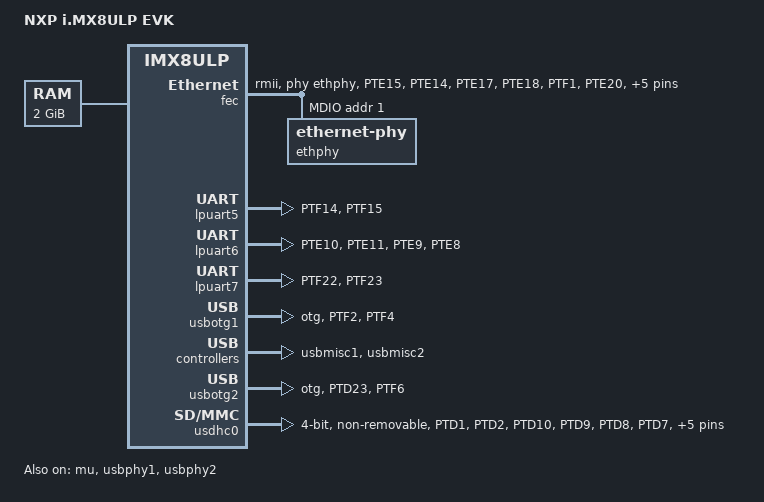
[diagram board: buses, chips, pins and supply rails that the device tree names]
// SPDX-License-Identifier: (GPL-2.0+ OR MIT)
/*
 * Copyright 2021 NXP
 */

/dts-v1/;

#include "imx8ulp.dtsi"

/ {
	model = "NXP i.MX8ULP EVK";
	compatible = "fsl,imx8ulp-evk", "fsl,imx8ulp";

	chosen {
		stdout-path = &lpuart5;
	};

	memory@40000000 {
		device_type = "memory";
		reg = <0x0 0x80000000 0 0x80000000>;
	};

	reserved-memory {
		#address-cells = <2>;
		#size-cells = <2>;
		ranges;

		rsc_table: rsc_table@1fff8000{
			reg = <0 0x1fff8000 0 0x1000>;
			no-map;
		};

		vdev0vring0: vdev0vring0@aff00000 {
			reg = <0 0xaff00000 0 0x8000>;
			no-map;
		};

		vdev0vring1: vdev0vring1@aff08000 {
			reg = <0 0xaff08000 0 0x8000>;
			no-map;
		};

		vdev1vring0: vdev1vring0@aff10000 {
			reg = <0 0xaff10000 0 0x8000>;
			no-map;
		};

		vdev1vring1: vdev1vring1@aff18000 {
			reg = <0 0xaff18000 0 0x8000>;
			no-map;
		};

		vdevbuffer: vdevbuffer@a8400000 {
			compatible = "shared-dma-pool";
			reg = <0 0xa8400000 0 0x100000>;
			no-map;
		};
	};

	imx8ulp-cm33 {
		compatible = "fsl,imx7ulp-cm4";
		ipc-only;
		rsc-da=<0x1fff8000>;
		mbox-names = "tx", "rx", "rxdb";
		mboxes = <&mu 0 1
			  &mu 1 1
			  &mu 3 1>;
		memory-region = <&vdevbuffer>, <&vdev0vring0>, <&vdev0vring1>,
				<&vdev1vring0>, <&vdev1vring1>, <&rsc_table>;
	};
};

&clock_ext_ts {
	/* External ts clock is 50MHZ from PHY on EVK board. */
	clock-frequency = <50000000>;
};

&fec {
	pinctrl-names = "default";
	pinctrl-0 = <&pinctrl_enet>;
	assigned-clocks = <&cgc1 IMX8ULP_CLK_ENET_TS_SEL>;
	assigned-clock-parents = <&clock_ext_ts>;
	phy-mode = "rmii";
	phy-handle = <&ethphy>;
	status = "okay";

	mdio {
		#address-cells = <1>;
		#size-cells = <0>;

		ethphy: ethernet-phy {
			reg = <1>;
			micrel,led-mode = <1>;
		};
	};
};

&lpuart5 {
	/* console */
	pinctrl-names = "default", "sleep";
	pinctrl-0 = <&pinctrl_lpuart5>;
	pinctrl-1 = <&pinctrl_lpuart5>;
	status = "okay";
};

&lpuart6 {
	/* BT */
	pinctrl-names = "default", "sleep";
	pinctrl-0 = <&pinctrl_lpuart6>;
	pinctrl-1 = <&pinctrl_lpuart6>;
	status = "okay";
};

&lpuart7 {
	/* FT4232 PortD: need to connect J25/J26 2-3 */
	pinctrl-names = "default", "sleep";
	pinctrl-0 = <&pinctrl_lpuart7>;
	pinctrl-1 = <&pinctrl_lpuart7>;
};

&mu {
	status = "okay";
};

&usbotg1 {
	pinctrl-names = "default", "sleep";
	pinctrl-0 = <&pinctrl_otgid1>;
	pinctrl-1 = <&pinctrl_otgid1>;
	dr_mode = "otg";
	hnp-disable;
	srp-disable;
	adp-disable;
	over-current-active-low;
	status = "okay";
};

&usbphy1 {
	status = "okay";
};

&usbmisc1 {
	status = "okay";
};

&usbotg2 {
	pinctrl-names = "default", "sleep";
	pinctrl-0 = <&pinctrl_otgid2>;
	pinctrl-1 = <&pinctrl_otgid2>;
	dr_mode = "otg";
	hnp-disable;
	srp-disable;
	adp-disable;
	over-current-active-low;
	status = "okay";
};

&usbphy2 {
	status = "okay";
};

&usbmisc2 {
	status = "okay";
};

&usdhc0 {
	pinctrl-names = "default", "sleep";
	pinctrl-0 = <&pinctrl_usdhc0>;
	pinctrl-1 = <&pinctrl_usdhc0>;
	non-removable;
	bus-width = <4>;
	status = "okay";
};

&iomuxc1 {
	pinctrl_enet: enetgrp {
		fsl,pins = <
			MX8ULP_PAD_PTE15__ENET0_MDC     0x43
			MX8ULP_PAD_PTE14__ENET0_MDIO    0x43
			MX8ULP_PAD_PTE17__ENET0_RXER    0x43
			MX8ULP_PAD_PTE18__ENET0_CRS_DV  0x43
			MX8ULP_PAD_PTF1__ENET0_RXD0     0x43
			MX8ULP_PAD_PTE20__ENET0_RXD1    0x43
			MX8ULP_PAD_PTE16__ENET0_TXEN    0x43
			MX8ULP_PAD_PTE23__ENET0_TXD0    0x43
			MX8ULP_PAD_PTE22__ENET0_TXD1    0x43
			MX8ULP_PAD_PTE19__ENET0_REFCLK  0x43
			MX8ULP_PAD_PTF10__ENET0_1588_CLKIN 0x43
		>;
	};

	pinctrl_lpuart5: lpuart5grp {
		fsl,pins = <
			MX8ULP_PAD_PTF14__LPUART5_TX	0x3
			MX8ULP_PAD_PTF15__LPUART5_RX	0x3
		>;
	};

	pinctrl_lpuart6: lpuart6grp {
		fsl,pins = <
			MX8ULP_PAD_PTE10__LPUART6_TX	0x3
			MX8ULP_PAD_PTE11__LPUART6_RX	0x3
			MX8ULP_PAD_PTE9__LPUART6_RTS_B	0x3
			MX8ULP_PAD_PTE8__LPUART6_CTS_B	0x3
		>;
	};

	pinctrl_lpuart7: lpuart7grp {
		fsl,pins = <
			MX8ULP_PAD_PTF22__LPUART7_TX	0x3
			MX8ULP_PAD_PTF23__LPUART7_RX	0x3
		>;
	};

	pinctrl_otgid1: usb1grp {
		fsl,pins = <
			MX8ULP_PAD_PTF2__USB0_ID	0x10003
			MX8ULP_PAD_PTF4__USB0_OC	0x10003
		>;
	};

	pinctrl_otgid2: usb2grp {
		fsl,pins = <
			MX8ULP_PAD_PTD23__USB1_ID	0x10003
			MX8ULP_PAD_PTF6__USB1_OC	0x10003
		>;
	};

	pinctrl_usdhc0: usdhc0grp {
		fsl,pins = <
			MX8ULP_PAD_PTD1__SDHC0_CMD	0x43
			MX8ULP_PAD_PTD2__SDHC0_CLK	0x10042
			MX8ULP_PAD_PTD10__SDHC0_D0	0x43
			MX8ULP_PAD_PTD9__SDHC0_D1	0x43
			MX8ULP_PAD_PTD8__SDHC0_D2	0x43
			MX8ULP_PAD_PTD7__SDHC0_D3	0x43
			MX8ULP_PAD_PTD6__SDHC0_D4	0x43
			MX8ULP_PAD_PTD5__SDHC0_D5	0x43
			MX8ULP_PAD_PTD4__SDHC0_D6	0x43
			MX8ULP_PAD_PTD3__SDHC0_D7	0x43
			MX8ULP_PAD_PTD11__SDHC0_DQS	0x10042
		>;
	};
};
